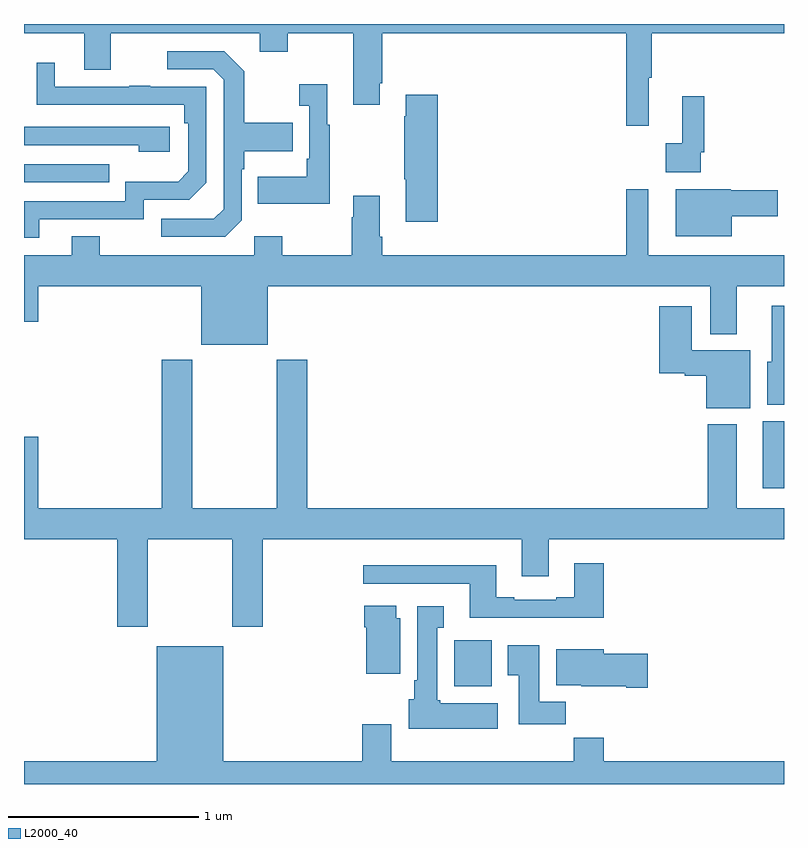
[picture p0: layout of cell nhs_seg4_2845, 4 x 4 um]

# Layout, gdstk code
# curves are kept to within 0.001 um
import gdstk
lib = gdstk.Library(unit=1e-6, precision=1e-09)
def R(c, l, rs):  # rectangles x0, y0, x1, y1
    for r in rs: c.add(gdstk.rectangle(r[:2], r[2:], *l))
def P(c, l, *ps):  # polygons
    for p in ps: c.add(gdstk.Polygon(p, *l))
L2000_40 = (2000, 40)

nhs_seg4_2845 = lib.new_cell('nhs_seg4_2845')
R(nhs_seg4_2845, L2000_40, [(263.264,761.414,263.461,761.656), (264.887,762.456,265,762.808), (261,764.067,261.449,764.163)])
P(nhs_seg4_2845, L2000_40, [(264.287,764.616),(264.305,764.616),(264.305,764.852),(265,764.852),(265,764.9),(261,764.9),(261,764.852),(261.317,764.852),(261.317,764.658),(261.457,764.658),(261.457,764.852),(262.241,764.852),(262.241,764.753),(262.389,764.753),(262.389,764.852),(262.733,764.852),(262.733,764.475),(262.873,764.475),(262.873,764.587),(262.886,764.587),(262.886,764.852),(264.169,764.852),(264.169,764.364),(264.287,764.364)],
  [(262.146,763.866),(262.146,764.135),(262.159,764.135),(262.159,764.231),(262.415,764.231),(262.415,764.379),(262.159,764.379),(262.159,764.651),(262.053,764.757),(261.753,764.757),(261.753,764.661),(261.996,764.661),(262.05,764.607),(262.05,763.926),(261.999,763.875),(261.723,763.875),(261.723,763.779),(262.059,763.779)],
  [(261.079,763.872),(261.63,763.872),(261.63,763.974),(261.87,763.974),(261.96,764.064),(261.96,764.571),(261.665,764.571),(261.665,764.576),(261.553,764.576),(261.553,764.571),(261.163,764.571),(261.163,764.695),(261.067,764.695),(261.067,764.476),(261.844,764.475),(261.844,764.378),(261.864,764.378),(261.864,764.124),(261.811,764.071),(261.534,764.071),(261.534,763.968),(261,763.968),(261,763.776),(261.079,763.776)],
  [(262.609,764.371),(262.597,764.371),(262.597,764.584),(262.449,764.584),(262.449,764.471),(262.5,764.471),(262.5,764.191),(262.488,764.191),(262.488,764.095),(262.231,764.095),(262.231,763.955),(262.609,763.955)],
  [(263.177,764.527),(263.009,764.527),(263.009,764.414),(263.002,764.414),(263.002,764.083),(263.009,764.083),(263.009,763.86),(263.177,763.86)],
  [(264.561,764.224),(264.581,764.224),(264.581,764.521),(264.464,764.521),(264.464,764.273),(264.378,764.273),(264.378,764.12),(264.561,764.12)],
  [(261.766,764.358),(261,764.358),(261,764.262),(261.605,764.262),(261.605,764.228),(261.766,764.228)],
  [(262.282,763.52),(264.611,763.52),(264.611,763.268),(264.751,763.268),(264.751,763.52),(265,763.52),(265,763.684),(264.286,763.684),(264.286,764.029),(264.169,764.029),(264.169,763.684),(262.886,763.684),(262.886,763.78),(262.873,763.78),(262.873,763.996),(262.733,763.996),(262.733,763.883),(262.726,763.883),(262.726,763.684),(262.359,763.684),(262.359,763.783),(262.212,763.783),(262.212,763.684),(261.399,763.684),(261.399,763.783),(261.251,763.783),(261.251,763.684),(261,763.684),(261,763.332),(261.076,763.332),(261.076,763.52),(261.932,763.52),(261.932,763.211),(262.282,763.211)],
  [(264.724,763.889),(264.967,763.889),(264.967,764.024),(264.72,764.024),(264.72,764.029),(264.431,764.029),(264.431,763.784),(264.724,763.784)],
  [(265,763.417),(264.935,763.417),(264.935,763.122),(264.911,763.122),(264.911,762.896),(265,762.896)],
  [(264.823,763.183),(264.514,763.183),(264.514,763.414),(264.344,763.414),(264.344,763.061),(264.477,763.061),(264.477,763.049),(264.59,763.049),(264.59,762.878),(264.823,762.878)],
  [(261.651,762.188),(262.096,762.188),(262.096,761.727),(262.256,761.727),(262.256,762.188),(263.621,762.188),(263.621,761.994),(263.761,761.994),(263.761,762.188),(265,762.188),(265,762.352),(264.751,762.352),(264.751,762.793),(264.599,762.793),(264.599,762.352),(262.49,762.352),(262.49,763.132),(262.33,763.132),(262.33,762.352),(261.885,762.352),(261.885,763.132),(261.725,763.132),(261.725,762.352),(261.076,762.352),(261.076,762.727),(261,762.727),(261,762.188),(261.491,762.188),(261.491,761.727),(261.651,761.727)],
  [(264.05,762.061),(263.897,762.061),(263.897,761.884),(263.801,761.884),(263.801,761.871),(263.581,761.871),(263.581,761.884),(263.485,761.884),(263.485,762.052),(262.785,762.052),(262.785,761.955),(263.345,761.955),(263.345,761.774),(264.05,761.774)],
  [(262.981,761.772),(262.96,761.772),(262.96,761.839),(262.79,761.839),(262.79,761.726),(262.802,761.726),(262.802,761.48),(262.981,761.48)],
  [(263.494,761.326),(263.19,761.326),(263.19,761.34),(263.176,761.34),(263.176,761.723),(263.209,761.723),(263.209,761.836),(263.069,761.836),(263.069,761.446),(263.054,761.446),(263.054,761.346),(263.024,761.346),(263.024,761.192),(263.494,761.192)],
  [(263.852,761.332),(263.713,761.332),(263.713,761.629),(263.546,761.629),(263.546,761.473),(263.603,761.473),(263.603,761.214),(263.852,761.214)],
  [(265,761.02),(264.05,761.02),(264.05,761.144),(263.893,761.144),(263.893,761.02),(262.933,761.02),(262.933,761.215),(262.781,761.215),(262.781,761.02),(262.048,761.02),(262.048,761.626),(261.698,761.626),(261.698,761.02),(261,761.02),(261,760.9),(265,760.9)],
  [(264.283,761.585),(264.052,761.585),(264.052,761.608),(263.801,761.608),(263.801,761.42),(263.934,761.42),(263.934,761.414),(264.17,761.414),(264.17,761.407),(264.283,761.407)])

lib.write_gds('nhs_seg4_2845.gds')
